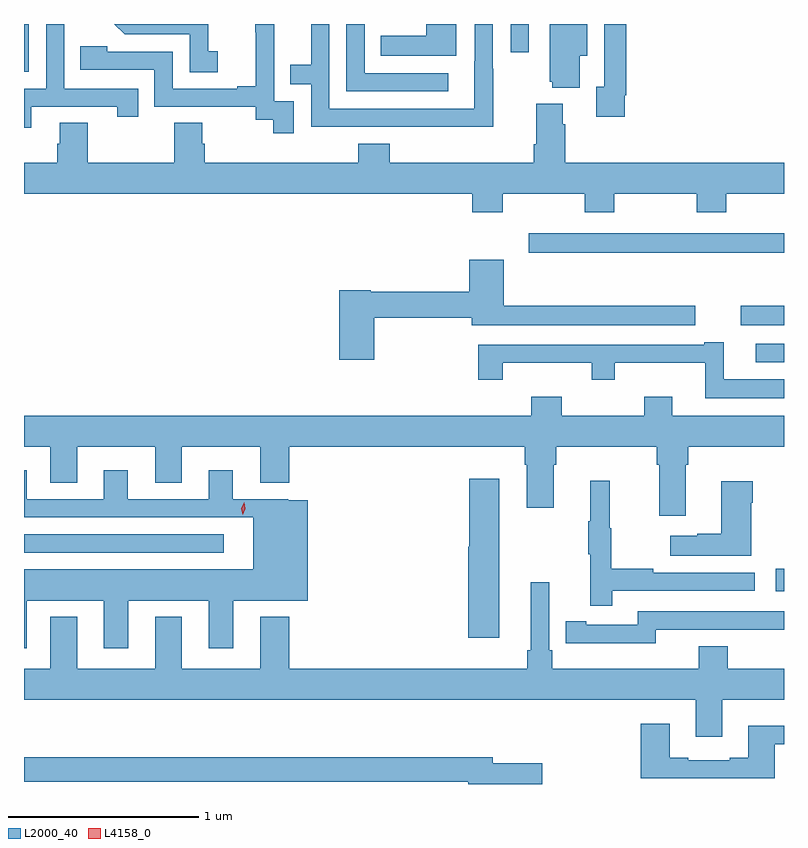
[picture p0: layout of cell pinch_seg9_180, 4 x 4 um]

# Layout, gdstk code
import gdstk
lib = gdstk.Library(unit=1e-6, precision=1e-09)
def R(c, l, rs):  # rectangles x0, y0, x1, y1
    for r in rs: c.add(gdstk.rectangle(r[:2], r[2:], *l))
def P(c, l, *ps):  # polygons
    for p in ps: c.add(gdstk.Polygon(p, *l))
L2000_40 = (2000, 40)
L4158_0 = (4158, 0)

pinch_seg9_180 = lib.new_cell('pinch_seg9_180')
R(pinch_seg9_180, L2000_40, [(771.024,1183.671,771.068,1183.791), (767.068,1183.875,768.118,1183.971), (770.919,1184.877,771.068,1184.973), (770.841,1185.072,771.068,1185.173), (769.725,1185.453,771.068,1185.556), (767.068,1186.407,767.094,1186.657), (769.629,1186.509,769.725,1186.657)])
P(pinch_seg9_180, L2000_40, [(769.342,1186.657),(769.185,1186.657),(769.185,1186.594),(768.946,1186.594),(768.946,1186.49),(769.342,1186.49)],
  [(767.107,1186.221),(767.558,1186.221),(767.558,1186.17),(767.669,1186.17),(767.669,1186.317),(767.28,1186.317),(767.28,1186.657),(767.184,1186.657),(767.184,1186.317),(767.068,1186.317),(767.068,1186.11),(767.107,1186.11)],
  [(768.088,1186.513),(768.039,1186.513),(768.039,1186.657),(767.543,1186.657),(767.598,1186.602),(767.94,1186.602),(767.94,1186.404),(768.088,1186.404)],
  [(770.23,1186.282),(770.237,1186.282),(770.237,1186.657),(770.121,1186.657),(770.121,1186.326),(770.081,1186.326),(770.081,1186.17),(770.23,1186.17)],
  [(769.3,1186.398),(768.861,1186.398),(768.861,1186.657),(768.765,1186.657),(768.765,1186.302),(769.3,1186.302)],
  [(768.489,1186.251),(768.384,1186.251),(768.384,1186.481),(768.386,1186.481),(768.386,1186.657),(768.286,1186.657),(768.286,1186.613),(768.287,1186.613),(768.287,1186.33),(768.191,1186.33),(768.191,1186.317),(767.85,1186.317),(767.85,1186.512),(767.505,1186.512),(767.505,1186.539),(767.365,1186.539),(767.365,1186.416),(767.754,1186.416),(767.754,1186.221),(768.288,1186.221),(768.288,1186.153),(768.381,1186.153),(768.381,1186.083),(768.489,1186.083)],
  [(769.993,1186.49),(770.032,1186.49),(770.032,1186.657),(769.835,1186.657),(769.835,1186.353),(769.847,1186.353),(769.847,1186.322),(769.993,1186.322)],
  [(769.539,1186.421),(769.536,1186.421),(769.536,1186.657),(769.44,1186.657),(769.44,1186.46),(769.439,1186.46),(769.439,1186.212),(768.675,1186.212),(768.675,1186.657),(768.579,1186.657),(768.579,1186.442),(768.469,1186.442),(768.469,1186.341),(768.579,1186.341),(768.579,1186.116),(769.075,1186.116),(769.075,1186.115),(769.539,1186.115)],
  [(769.587,1185.764),(770.02,1185.764),(770.02,1185.665),(770.175,1185.665),(770.175,1185.764),(770.608,1185.764),(770.608,1185.665),(770.763,1185.665),(770.763,1185.764),(771.068,1185.764),(771.068,1185.928),(769.916,1185.928),(769.916,1186.13),(769.903,1186.13),(769.903,1186.237),(769.763,1186.237),(769.763,1186.024),(769.751,1186.024),(769.751,1185.928),(768.992,1185.928),(768.992,1186.027),(768.827,1186.027),(768.827,1185.928),(768.02,1185.928),(768.02,1186.026),(768.007,1186.026),(768.007,1186.136),(767.86,1186.136),(767.86,1185.928),(767.403,1185.928),(767.403,1186.136),(767.255,1186.136),(767.255,1186.026),(767.243,1186.026),(767.243,1185.928),(767.068,1185.928),(767.068,1185.764),(769.427,1185.764),(769.427,1185.665),(769.587,1185.665)],
  [(768.911,1185.112),(769.424,1185.112),(769.424,1185.072),(770.602,1185.072),(770.602,1185.173),(769.592,1185.173),(769.592,1185.415),(769.412,1185.415),(769.412,1185.248),(768.894,1185.248),(768.894,1185.256),(768.728,1185.256),(768.728,1184.889),(768.911,1184.889)],
  [(771.068,1184.788),(770.752,1184.788),(770.752,1184.983),(770.648,1184.983),(770.648,1184.97),(769.459,1184.97),(769.459,1184.784),(769.588,1184.784),(769.588,1184.873),(770.055,1184.873),(770.055,1184.784),(770.176,1184.784),(770.176,1184.873),(770.654,1184.873),(770.654,1184.687),(771.068,1184.687)],
  [(770.551,1184.336),(770.564,1184.336),(770.564,1184.432),(771.068,1184.432),(771.068,1184.596),(770.479,1184.596),(770.479,1184.695),(770.332,1184.695),(770.332,1184.596),(769.899,1184.596),(769.899,1184.695),(769.739,1184.695),(769.739,1184.596),(767.068,1184.596),(767.068,1184.432),(767.207,1184.432),(767.207,1184.242),(767.347,1184.242),(767.347,1184.432),(767.759,1184.432),(767.759,1184.242),(767.899,1184.242),(767.899,1184.432),(768.311,1184.432),(768.311,1184.242),(768.464,1184.242),(768.464,1184.432),(769.703,1184.432),(769.703,1184.336),(769.715,1184.336),(769.715,1184.112),(769.855,1184.112),(769.855,1184.336),(769.868,1184.336),(769.868,1184.432),(770.399,1184.432),(770.399,1184.336),(770.411,1184.336),(770.411,1184.07),(770.551,1184.07)],
  [(767.083,1183.622),(767.489,1183.622),(767.489,1183.371),(767.617,1183.371),(767.617,1183.622),(768.041,1183.622),(768.041,1183.371),(768.169,1183.371),(768.169,1183.622),(768.562,1183.622),(768.562,1184.151),(768.458,1184.151),(768.458,1184.157),(768.166,1184.157),(768.166,1184.308),(768.041,1184.308),(768.041,1184.157),(767.614,1184.157),(767.614,1184.308),(767.489,1184.308),(767.489,1184.157),(767.083,1184.157),(767.083,1184.308),(767.068,1184.308),(767.068,1184.061),(768.275,1184.061),(768.275,1183.786),(767.068,1183.786),(767.068,1183.371),(767.083,1183.371)],
  [(769.57,1184.263),(769.412,1184.263),(769.412,1183.905),(769.406,1183.905),(769.406,1183.428),(769.57,1183.428)],
  [(770.165,1183.674),(770.914,1183.674),(770.914,1183.77),(770.381,1183.77),(770.381,1183.79),(770.158,1183.79),(770.158,1184.004),(770.15,1184.004),(770.15,1184.254),(770.048,1184.254),(770.048,1184.041),(770.037,1184.041),(770.037,1183.867),(770.048,1183.867),(770.048,1183.596),(770.165,1183.596)],
  [(770.896,1184.138),(770.904,1184.138),(770.904,1184.251),(770.738,1184.251),(770.738,1183.973),(770.612,1183.973),(770.612,1183.963),(770.469,1183.963),(770.469,1183.859),(770.896,1183.859)],
  [(770.743,1183.1),(771.068,1183.1),(771.068,1183.264),(770.771,1183.264),(770.771,1183.381),(770.618,1183.381),(770.618,1183.264),(769.847,1183.264),(769.847,1183.36),(769.833,1183.36),(769.833,1183.72),(769.736,1183.72),(769.736,1183.36),(769.717,1183.36),(769.717,1183.264),(768.464,1183.264),(768.464,1183.537),(768.311,1183.537),(768.311,1183.264),(767.899,1183.264),(767.899,1183.537),(767.759,1183.537),(767.759,1183.264),(767.347,1183.264),(767.347,1183.537),(767.207,1183.537),(767.207,1183.264),(767.068,1183.264),(767.068,1183.1),(770.603,1183.1),(770.603,1182.906),(770.743,1182.906)],
  [(770.394,1183.47),(770.854,1183.47),(770.854,1183.469),(771.068,1183.469),(771.068,1183.566),(770.298,1183.566),(770.298,1183.494),(770.026,1183.494),(770.026,1183.514),(769.918,1183.514),(769.918,1183.398),(770.026,1183.398),(770.026,1183.397),(770.394,1183.397)],
  [(771.019,1182.867),(771.068,1182.867),(771.068,1182.964),(770.879,1182.964),(770.879,1182.796),(770.783,1182.796),(770.783,1182.783),(770.563,1182.783),(770.563,1182.796),(770.467,1182.796),(770.467,1182.973),(770.315,1182.973),(770.315,1182.686),(771.019,1182.686)],
  [(769.795,1182.765),(769.534,1182.765),(769.534,1182.799),(767.068,1182.799),(767.068,1182.67),(769.406,1182.67),(769.406,1182.657),(769.795,1182.657)])
P(pinch_seg9_180, L4158_0, [(768.218,1184.074),(768.218,1184.074),(768.212,1184.108),(768.226,1184.14),(768.226,1184.14),(768.226,1184.14),(768.232,1184.106),(768.218,1184.074)])

lib.write_gds('pinch_seg9_180.gds')
